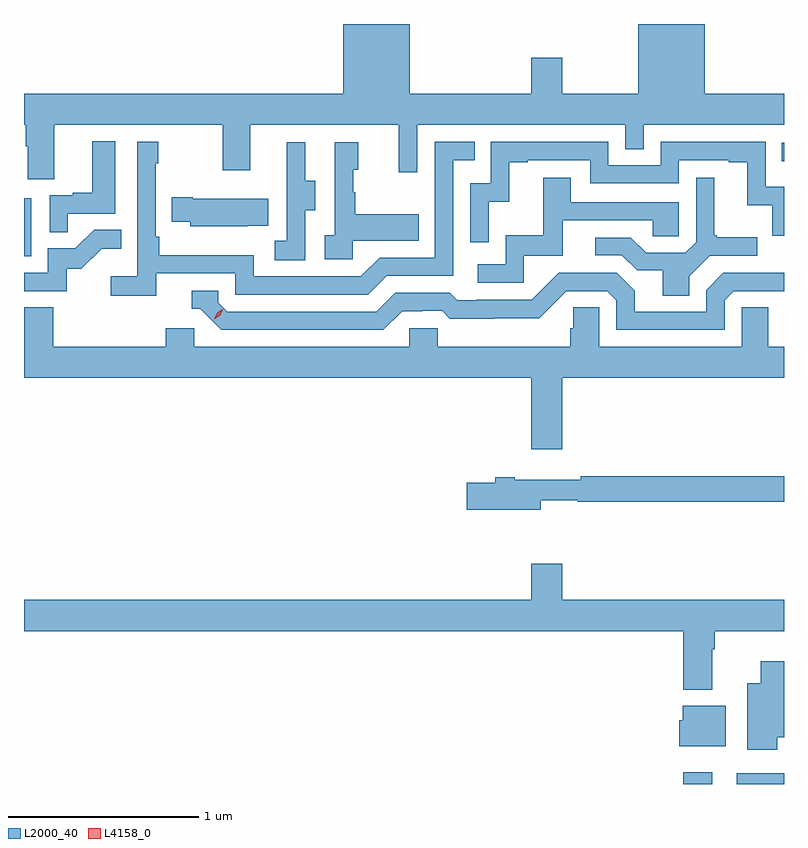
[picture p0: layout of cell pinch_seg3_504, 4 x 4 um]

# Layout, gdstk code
import gdstk
lib = gdstk.Library(unit=1e-6, precision=1e-09)
def R(c, l, rs):  # rectangles x0, y0, x1, y1
    for r in rs: c.add(gdstk.rectangle(r[:2], r[2:], *l))
def P(c, l, *ps):  # polygons
    for p in ps: c.add(gdstk.Polygon(p, *l))
L2000_40 = (2000, 40)
L4158_0 = (4158, 0)

pinch_seg3_504 = lib.new_cell('pinch_seg3_504')
R(pinch_seg3_504, L2000_40, [(969.005,677.467,969.157,677.53), (969.285,677.467,969.535,677.523), (965.535,680.244,965.572,680.551), (969.523,680.744,969.535,680.841)])
P(pinch_seg3_504, L2000_40, [(965.695,680.936),(966.58,680.936),(966.58,680.697),(966.727,680.697),(966.727,680.936),(967.508,680.936),(967.508,680.688),(967.605,680.688),(967.605,680.936),(968.7,680.936),(968.7,680.809),(968.796,680.809),(968.796,680.936),(969.535,680.936),(969.535,681.1),(969.118,681.1),(969.118,681.467),(968.768,681.467),(968.768,681.1),(968.368,681.1),(968.368,681.289),(968.204,681.289),(968.204,681.1),(967.564,681.1),(967.564,681.467),(967.214,681.467),(967.214,681.1),(965.535,681.1),(965.535,680.936),(965.543,680.936),(965.543,680.824),(965.555,680.824),(965.555,680.65),(965.695,680.65)],
  [(965.765,680.469),(966.016,680.469),(966.016,680.851),(965.894,680.851),(965.894,680.578),(965.791,680.578),(965.791,680.565),(965.67,680.565),(965.67,680.371),(965.765,680.371)],
  [(966.23,680.154),(966.648,680.154),(966.648,680.043),(967.345,680.043),(967.444,680.142),(967.794,680.142),(967.794,680.751),(967.907,680.751),(967.907,680.847),(967.698,680.847),(967.698,680.238),(967.407,680.238),(967.308,680.139),(966.744,680.139),(966.744,680.251),(966.248,680.251),(966.248,680.347),(966.228,680.347),(966.228,680.735),(966.241,680.735),(966.241,680.848),(966.132,680.848),(966.132,680.14),(965.991,680.14),(965.991,680.038),(966.23,680.038)],
  [(967.98,680.531),(968.09,680.531),(968.09,680.739),(968.185,680.739),(968.185,680.751),(968.514,680.751),(968.514,680.628),(968.982,680.628),(968.982,680.751),(969.245,680.751),(969.245,680.739),(969.341,680.739),(969.341,680.513),(969.474,680.513),(969.474,680.352),(969.535,680.352),(969.535,680.611),(969.438,680.611),(969.438,680.847),(968.886,680.847),(968.886,680.724),(968.61,680.724),(968.61,680.847),(967.992,680.847),(967.992,680.628),(967.884,680.628),(967.884,680.319),(967.98,680.319)],
  [(967.266,680.327),(967.613,680.327),(967.613,680.467),(967.279,680.467),(967.279,680.582),(967.269,680.582),(967.269,680.7),(967.294,680.7),(967.294,680.845),(967.17,680.845),(967.17,680.354),(967.119,680.354),(967.119,680.229),(967.266,680.229)],
  [(967.014,680.488),(967.069,680.488),(967.069,680.643),(967.015,680.643),(967.015,680.845),(966.917,680.845),(966.917,680.631),(966.918,680.631),(966.918,680.327),(966.855,680.327),(966.855,680.224),(967.014,680.224)],
  [(968.166,680.247),(968.371,680.247),(968.371,680.433),(968.845,680.433),(968.845,680.349),(968.982,680.349),(968.982,680.529),(968.413,680.529),(968.413,680.659),(968.269,680.659),(968.269,680.356),(968.07,680.356),(968.07,680.202),(967.923,680.202),(967.923,680.106),(968.166,680.106)],
  [(969.037,680.14),(969.144,680.247),(969.394,680.247),(969.394,680.344),(969.181,680.344),(969.181,680.356),(969.169,680.356),(969.169,680.659),(969.072,680.659),(969.072,680.319),(969.015,680.262),(968.809,680.262),(968.728,680.343),(968.541,680.343),(968.541,680.25),(968.682,680.25),(968.762,680.17),(968.897,680.17),(968.897,680.038),(969.037,680.038)],
  [(966.713,680.405),(966.821,680.405),(966.821,680.548),(966.424,680.548),(966.424,680.556),(966.313,680.556),(966.313,680.426),(966.411,680.426),(966.411,680.402),(966.713,680.402)],
  [(965.76,680.178),(965.836,680.178),(965.943,680.285),(966.047,680.285),(966.047,680.384),(965.904,680.384),(965.806,680.286),(965.661,680.286),(965.661,680.157),(965.535,680.157),(965.535,680.061),(965.76,680.061)],
  [(967.525,679.956),(967.632,679.956),(967.632,679.959),(967.735,679.959),(967.777,679.917),(968.01,679.917),(968.01,679.919),(968.246,679.919),(968.388,680.061),(968.604,680.061),(968.652,680.013),(968.652,679.857),(969.222,679.857),(969.222,680.013),(969.27,680.061),(969.535,680.061),(969.535,680.159),(969.432,680.159),(969.432,680.157),(969.216,680.157),(969.126,680.067),(969.126,679.953),(968.749,679.953),(968.749,680.063),(968.655,680.157),(968.349,680.157),(968.208,680.016),(967.915,680.016),(967.915,680.013),(967.816,680.013),(967.777,680.052),(967.488,680.052),(967.389,679.953),(966.606,679.953),(966.558,680.001),(966.558,680.064),(966.419,680.064),(966.419,679.968),(966.462,679.968),(966.573,679.857),(967.426,679.857)],
  [(968.368,679.604),(969.535,679.604),(969.535,679.768),(969.451,679.768),(969.451,679.976),(969.312,679.976),(969.312,679.768),(968.562,679.768),(968.562,679.976),(968.425,679.976),(968.425,679.866),(968.411,679.866),(968.411,679.768),(967.713,679.768),(967.713,679.866),(967.563,679.866),(967.563,679.768),(966.432,679.768),(966.432,679.866),(966.281,679.866),(966.281,679.768),(965.69,679.768),(965.69,679.976),(965.535,679.976),(965.535,679.604),(968.204,679.604),(968.204,679.23),(968.368,679.23)],
  [(968.254,678.96),(968.45,678.96),(968.45,678.952),(969.535,678.952),(969.535,679.088),(968.464,679.088),(968.464,679.069),(968.119,679.069),(968.119,679.082),(968.015,679.082),(968.015,679.052),(967.866,679.052),(967.866,678.91),(968.254,678.91)],
  [(969.157,678.176),(969.17,678.176),(969.17,678.272),(969.535,678.272),(969.535,678.436),(968.368,678.436),(968.368,678.625),(968.204,678.625),(968.204,678.436),(965.535,678.436),(965.535,678.272),(969.005,678.272),(969.005,677.963),(969.157,677.963)],
  [(969.499,677.714),(969.535,677.714),(969.535,678.112),(969.413,678.112),(969.413,677.998),(969.341,677.998),(969.341,677.646),(969.499,677.646)],
  [(969.229,677.878),(969.002,677.878),(969.002,677.802),(968.984,677.802),(968.984,677.666),(969.229,677.666)])
P(pinch_seg3_504, L4158_0, [(966.536,679.914),(966.536,679.914),(966.552,679.947),(966.582,679.967),(966.582,679.967),(966.582,679.966),(966.567,679.934),(966.536,679.914)])

lib.write_gds('pinch_seg3_504.gds')
